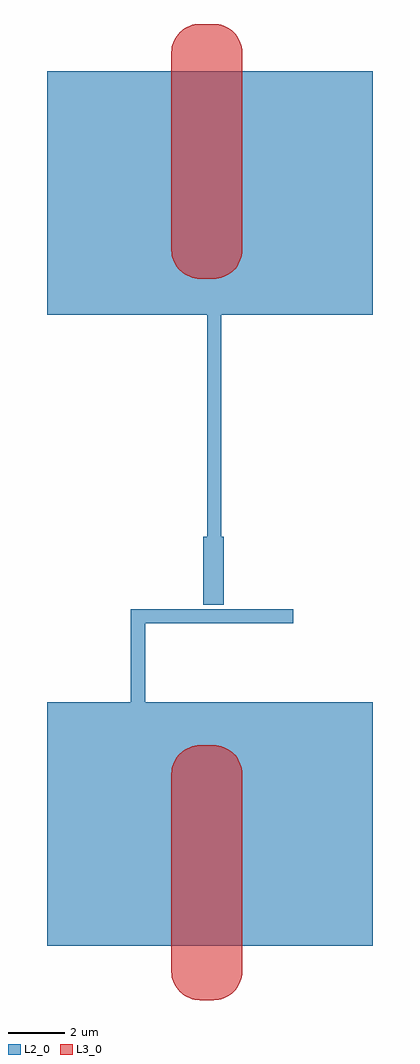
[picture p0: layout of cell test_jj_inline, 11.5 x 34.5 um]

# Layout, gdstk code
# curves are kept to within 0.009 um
import gdstk
lib = gdstk.Library(unit=1e-6, precision=1e-10)
def R(c, l, rs):  # rectangles x0, y0, x1, y1
    for r in rs: c.add(gdstk.rectangle(r[:2], r[2:], *l))
def P(c, l, *ps):  # polygons
    for p in ps: c.add(gdstk.Polygon(p, *l))
L2_0 = (2, 0)
L3_0 = (3, 0)

test_jj_inline = lib.new_cell('test_jj_inline')
R(test_jj_inline, L2_0, [(-5.5,-34.6,6,-26), (-2.5451,-26,-2.0451,-23.21), (-2.5457,-23.212,3.1903,-22.712), (0.0187,-22.55,0.7387,-20.15), (0.146,-20.15,0.646,-12.3), (-5.5,-12.3,6,-3.7)])
P(test_jj_inline, L3_0, [(-0.1143,-11.0243),(0.3857,-11.0243),(0.5593,-11.0091),(0.7277,-10.964),(0.8857,-10.8903),(1.0928,-10.7314),(1.2049,-10.5979),(1.3254,-10.3663),(1.3819,-10.1115),(1.3819,-2.9371),(1.3516,-2.7655),(1.292,-2.6017),(1.2049,-2.4507),(1.0928,-2.3172),(0.9593,-2.2051),(0.8083,-2.118),(0.6445,-2.0584),(0.4729,-2.0281),(-0.2015,-2.0281),(-0.4563,-2.0846),(-0.6143,-2.1583),(-0.8214,-2.3172),(-0.9335,-2.4507),(-1.054,-2.6823),(-1.1105,-2.9371),(-1.1105,-10.1115),(-1.0802,-10.2831),(-1.0206,-10.4469),(-0.9335,-10.5979),(-0.8214,-10.7314),(-0.6879,-10.8435),(-0.4563,-10.964),(-0.2879,-11.0091)],
  [(-0.1143,-36.5243),(0.3857,-36.5243),(0.5593,-36.5091),(0.7277,-36.464),(0.8857,-36.3903),(1.0928,-36.2314),(1.2049,-36.0979),(1.3254,-35.8663),(1.3819,-35.6115),(1.3819,-28.4371),(1.3516,-28.2655),(1.292,-28.1017),(1.2049,-27.9507),(1.0928,-27.8172),(0.9593,-27.7051),(0.8083,-27.618),(0.6445,-27.5584),(0.4729,-27.5281),(-0.2015,-27.5281),(-0.4563,-27.5846),(-0.6143,-27.6583),(-0.8214,-27.8172),(-0.9335,-27.9507),(-1.054,-28.1823),(-1.1105,-28.4371),(-1.1105,-35.6115),(-1.0802,-35.7831),(-1.0206,-35.9469),(-0.9335,-36.0979),(-0.8214,-36.2314),(-0.6879,-36.3435),(-0.4563,-36.464),(-0.2879,-36.5091)])

lib.write_gds('test_jj_inline.gds')
